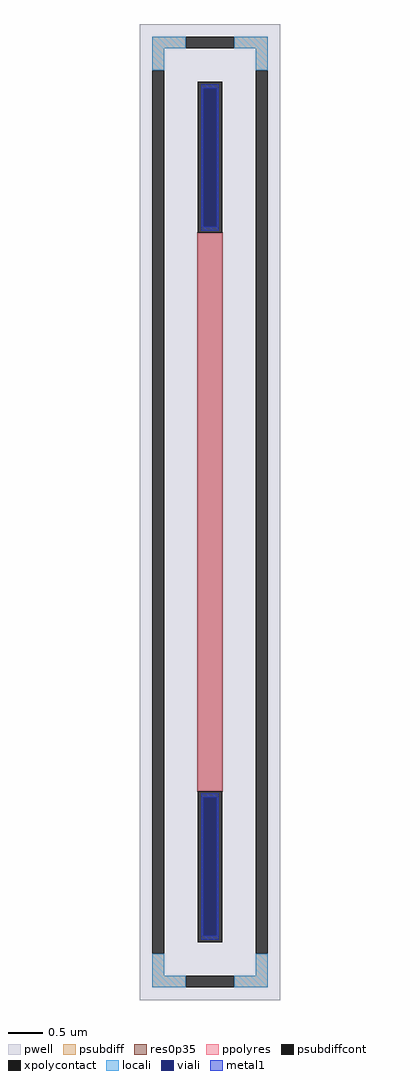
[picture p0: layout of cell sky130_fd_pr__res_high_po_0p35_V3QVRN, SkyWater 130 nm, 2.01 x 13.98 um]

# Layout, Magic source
magic
tech sky130A
magscale 1 2
<< pwell >>
rect -201 -1398 201 1398
<< psubdiff >>
rect -165 1328 -69 1362
rect 69 1328 165 1362
rect -165 1266 -131 1328
rect 131 1266 165 1328
rect -165 -1328 -131 -1266
rect 131 -1328 165 -1266
rect -165 -1362 -69 -1328
rect 69 -1362 165 -1328
<< psubdiffcont >>
rect -69 1328 69 1362
rect -165 -1266 -131 1266
rect 131 -1266 165 1266
rect -69 -1362 69 -1328
<< xpolycontact >>
rect -35 800 35 1232
rect -35 -1232 35 -800
<< ppolyres >>
rect -35 -800 35 800
<< locali >>
rect -165 1328 -69 1362
rect 69 1328 165 1362
rect -165 1266 -131 1328
rect 131 1266 165 1328
rect -165 -1328 -131 -1266
rect 131 -1328 165 -1266
rect -165 -1362 -69 -1328
rect 69 -1362 165 -1328
<< viali >>
rect -19 817 19 1214
rect -19 -1214 19 -817
<< metal1 >>
rect -25 1214 25 1226
rect -25 817 -19 1214
rect 19 817 25 1214
rect -25 805 25 817
rect -25 -817 25 -805
rect -25 -1214 -19 -817
rect 19 -1214 25 -817
rect -25 -1226 25 -1214
<< res0p35 >>
rect -37 -802 37 802
<< properties >>
string FIXED_BBOX -148 -1345 148 1345
string gencell sky130_fd_pr__res_high_po_0p35
string library sky130
string parameters w 0.350 l 8 m 1 nx 1 wmin 0.350 lmin 0.50 rho 319.8 val 7.419k dummy 0 dw 0.0 term 19.188 sterm 0.0 caplen 0 guard 1 glc 1 grc 1 gtc 1 gbc 1 compatible {sky130_fd_pr__res_high_po_0p35  sky130_fd_pr__res_high_po_0p69 sky130_fd_pr__res_high_po_1p41  sky130_fd_pr__res_high_po_2p85 sky130_fd_pr__res_high_po_5p73} full_metal 1 wmax 0.350 vias 1 n_guard 0 hv_guard 0 viagb 0 viagt 0 viagl 0 viagr 0
<< end >>
